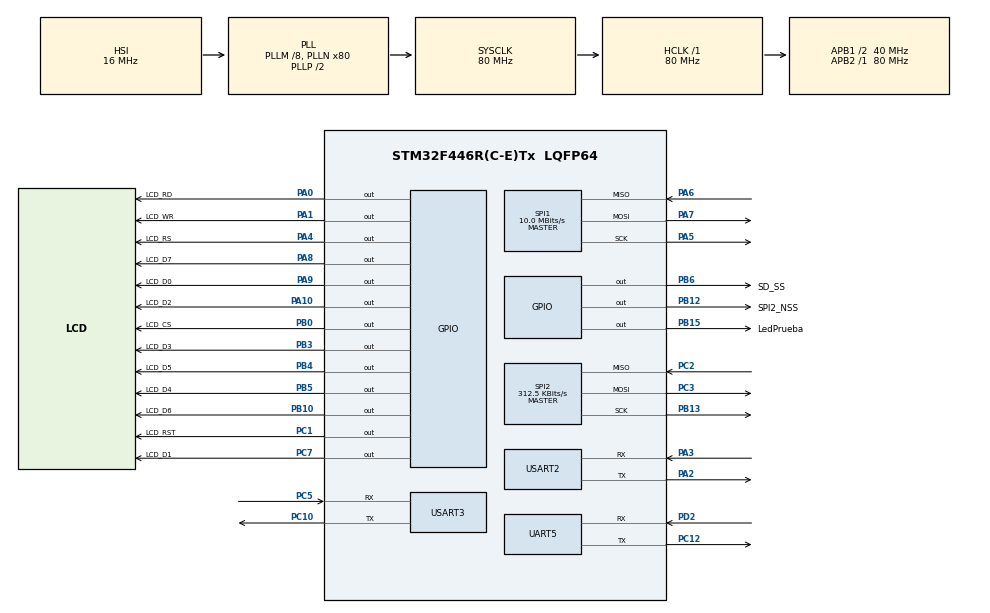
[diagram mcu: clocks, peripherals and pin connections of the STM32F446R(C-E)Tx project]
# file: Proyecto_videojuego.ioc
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FATFS._MAX_SS=4096
FATFS._USE_LFN=1
Mcu.Family=STM32F4
Mcu.Name=STM32F446R(C-E)Tx
Mcu.Package=LQFP64
NVIC.PriorityGroup=NVIC_PRIORITYGROUP_0
NVIC.SPI2_IRQn=true\:0\:0\:false\:false\:true\:true\:true\:true
NVIC.UART5_IRQn=true\:0\:0\:false\:false\:true\:true\:true\:true
NVIC.USART2_IRQn=true\:0\:0\:false\:false\:true\:true\:true\:true
NVIC.USART3_IRQn=true\:0\:0\:false\:false\:true\:true\:true\:true
PA0-WKUP.GPIO_Label=LCD_RD
PA0-WKUP.Signal=GPIO_Output
PA1.GPIO_Label=LCD_WR
PA1.Signal=GPIO_Output
PA10.GPIO_Label=LCD_D2
PA10.Signal=GPIO_Output
PA13.GPIO_Label=TMS
PA13.Mode=Serial_Wire
PA13.Signal=SYS_JTMS-SWDIO
PA14.GPIO_Label=TCK
PA14.Mode=Serial_Wire
PA14.Signal=SYS_JTCK-SWCLK
PA2.Mode=Asynchronous
PA2.Signal=USART2_TX
PA3.Mode=Asynchronous
PA3.Signal=USART2_RX
PA4.GPIO_Label=LCD_RS
PA4.Signal=GPIO_Output
PA5.Mode=Full_Duplex_Master
PA5.Signal=SPI1_SCK
PA6.Mode=Full_Duplex_Master
PA6.Signal=SPI1_MISO
PA7.Mode=Full_Duplex_Master
PA7.Signal=SPI1_MOSI
PA8.GPIO_Label=LCD_D7
PA8.Signal=GPIO_Output
PA9.GPIO_Label=LCD_D0
PA9.Signal=GPIO_Output
PB0.GPIO_Label=LCD_CS
PB0.Signal=GPIO_Output
PB10.GPIO_Label=LCD_D6
PB10.Signal=GPIO_Output
PB12.GPIO_Label=SPI2_NSS
PB12.GPIO_ModeDefaultOutputPP=GPIO_MODE_OUTPUT_PP
PB12.GPIO_PuPd=GPIO_NOPULL
PB12.GPIO_Speed=GPIO_SPEED_FREQ_MEDIUM
PB12.PinState=GPIO_PIN_SET
PB12.Signal=GPIO_Output
PB13.Mode=Full_Duplex_Master
PB13.Signal=SPI2_SCK
PB15.GPIO_Label=LedPrueba
PB15.Signal=GPIO_Output
PB3.GPIO_Label=LCD_D3
PB3.Signal=GPIO_Output
PB4.GPIO_Label=LCD_D5
PB4.Signal=GPIO_Output
PB5.GPIO_Label=LCD_D4
PB5.Signal=GPIO_Output
PB6.GPIO_Label=SD_SS
PB6.GPIO_Speed=GPIO_SPEED_FREQ_MEDIUM
PB6.PinState=GPIO_PIN_SET
PB6.Signal=GPIO_Output
PC1.GPIO_Label=LCD_RST
PC1.Signal=GPIO_Output
PC10.Mode=Asynchronous
PC10.Signal=USART3_TX
PC12.Mode=Asynchronous
PC12.Signal=UART5_TX
PC2.Mode=Full_Duplex_Master
PC2.Signal=SPI2_MISO
PC3.Mode=Full_Duplex_Master
PC3.Signal=SPI2_MOSI
PC5.Mode=Asynchronous
PC5.Signal=USART3_RX
PC7.GPIO_Label=LCD_D1
PC7.Signal=GPIO_Output
PD2.Mode=Asynchronous
PD2.Signal=UART5_RX
PH0-OSC_IN.Mode=HSE-External-Oscillator
PH0-OSC_IN.Signal=RCC_OSC_IN
PH1-OSC_OUT.Mode=HSE-External-Oscillator
PH1-OSC_OUT.Signal=RCC_OSC_OUT
ProjectManager.HeapSize=0x200
ProjectManager.StackSize=0x400
ProjectManager.TargetToolchain=STM32CubeIDE
RCC.48MHZClocksFreq_Value=84000000
RCC.AHBFreq_Value=80000000
RCC.APB1CLKDivider=RCC_HCLK_DIV2
RCC.APB1Freq_Value=40000000
RCC.APB1TimFreq_Value=80000000
RCC.APB2Freq_Value=80000000
RCC.APB2TimFreq_Value=80000000
RCC.CortexFreq_Value=80000000
RCC.FLatency-AdvancedSettings=FLASH_LATENCY_2
RCC.HCLKFreq_Value=80000000
RCC.HSE_VALUE=25000000
RCC.HSI_VALUE=16000000
RCC.PLLM=8
RCC.PLLN=80
RCC.SYSCLKFreq_VALUE=80000000
RCC.SYSCLKSource=RCC_SYSCLKSOURCE_PLLCLK
RCC.USBFreq_Value=80000000
RCC.VCOOutputFreq_Value=160000000
SPI1.BaudRatePrescaler=SPI_BAUDRATEPRESCALER_8
SPI1.CalculateBaudRate=10.0 MBits/s
SPI1.Direction=SPI_DIRECTION_2LINES
SPI1.Mode=SPI_MODE_MASTER
SPI1.VirtualType=VM_MASTER
SPI2.BaudRatePrescaler=SPI_BAUDRATEPRESCALER_128
SPI2.CalculateBaudRate=312.5 KBits/s
SPI2.Direction=SPI_DIRECTION_2LINES
SPI2.Mode=SPI_MODE_MASTER
SPI2.VirtualType=VM_MASTER
UART5.VirtualMode=Asynchronous
USART2.VirtualMode=VM_ASYNC
USART3.VirtualMode=VM_ASYNC
VP_FATFS_VS_Generic.Mode=User_defined
board=NUCLEO-F446RE

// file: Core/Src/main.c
/* USER CODE BEGIN Header */
/**
  ******************************************************************************
  * @file           : main.c
  * @brief          : Main program body
  ******************************************************************************
  * @attention
  *
  * Copyright (c) 2026 STMicroelectronics.
  * All rights reserved.
  *
  * This software is licensed under terms that can be found in the LICENSE file
  * in the root directory of this software component.
  * If no LICENSE file comes with this software, it is provided AS-IS.
  *
  ******************************************************************************
  */
/* USER CODE END Header */
#include "main.h"
#include "fatfs.h"

/* USER CODE BEGIN Includes */
#include "ili9341.h"
#include "Bitmaps.h"
#include "fatfs_sd.h"
#include "stdio.h"
#include <string.h>
/* USER CODE END Includes */

/* USER CODE BEGIN PD */
SPI_HandleTypeDef hspi1;
FATFS fs;
FATFS *pfs;
FIL  fil;
FRESULT fres;
DWORD fre_clust;
uint32_t totalSpace, freeSpace;
char buffer[100];
UINT br;
/* USER CODE END PD */

SPI_HandleTypeDef hspi1;
SPI_HandleTypeDef hspi2;

UART_HandleTypeDef huart5;
UART_HandleTypeDef huart2;
UART_HandleTypeDef huart3;

/* USER CODE BEGIN PV */
//Variables utilizadas para almacernar matrices de imagenes utilizadas
extern uint16_t NAVE1[];
extern uint16_t NAVE2[];
extern uint16_t GUSANO2[];
extern uint16_t BALA[];
extern uint16_t GUSANO16[];
extern uint16_t NAVE16_1[];
extern uint16_t NAVE16_2[];
extern uint16_t GANA1[];
extern uint16_t GANA2[];

char buffer[100];
volatile uint8_t ok2=0;

//VARIBALES PARA JUGADOR 1
uint8_t direccion = 0;   // 1,2,3,4
static char last_direccion = '0';
int dx1 = 0;
int dy1 = 0;
int x = 100;
int y = 100;
uint32_t frame_counter = 0;	// Cuenta los ciclos del while para mover la bala
int bx, by;          // Posición de la bala
int j1_vivo = 1; // 1 = vivo, 0 = muerto
int bala_activa = 0; // 0 = no hay bala, 1 = bala volando
int puntos_j1 = 0;

//VARIABLES PARA JUGADOR 2
uint8_t direccionJ2 = 0;   // 1,2,3,4
static char last_direccion2 = '0';
int dx2 = 0;
int dy2 = 0;
int x2 = 200;
int y2 = 150;
int j2_vivo = 1;
int bx2_b, by2_b;  //variables para control de balas
int bala_activa2 = 0;
uint32_t frame_counter2 = 0;
int puntos_j2 = 0;

volatile uint8_t comando_actual = 0;	//guarda el estado actual de los botones
volatile uint8_t fondonegro = 1;	//bandera para colocar fondo negro
volatile uint8_t comando_actual2 = 0;	//guarda el estado actual de los botones
uint8_t dato_uart;	//Guarda el estado recibido por uart
uint8_t dato_uart2;	//Guarda el estado recibido por uart
uint8_t ok_UART = 0;	//Bandera que indica que hay un dato en el uart
uint8_t controlmenu = 0;	//variables para verficar el estado del menu
uint8_t controlmenuNIVELES = 0;	//variables para verficar el estADO DEL MENU DE NIVELES
int lastmenu = -1;
int lastmenuNIVELES = -1;
uint8_t pantalla_actual;	//indica la pantalla acutal en la s

// Definimos la estructura del segmento
typedef struct {
    int x_g, y_g;    // Posición en pantalla
    int dir_g;     // Dirección horizontal: 1 (derecha), -1 (izquierda)
} Segmento;

//DEFINICIONES Y VARIABLES UTILZADAS PARA LA LOGICA DEL MOVIMIENTO DEL GUSANO
#define LARGO_GUSANO 6  // Número de segmentos iniciales
#define TAM_SEGMENTO 16
Segmento gusano[LARGO_GUSANO]; // El arreglo que contiene a todo el gusano
uint32_t last_move_time = 0;   // Para controlar la velocidad sin usar HAL_Delay
int contador_gusano = 0;
int limite_velocidad = 50000; // Ajusta este valor para cambiar la velocidad global
char msg[20];
int fin_del_juego = 0;
uint8_t miCaracter = 'A'; // O el valor numérico del carácter

#define CS_LOW()  HAL_GPIO_WritePin(GPIOB, GPIO_PIN_12, GPIO_PIN_RESET)
#define CS_HIGH() HAL_GPIO_WritePin(GPIOB, GPIO_PIN_12, GPIO_PIN_SET)
#define BUFFER_PIXELS width
#define MENU    0
#define NIVEL1  1
#define NIVEL2   3
#define JUGADOR1  4
#define JUGADOR2  5
#define NAVE_W 16
#define NAVE_H 16

//VARIABLES PARA LA POSICIÓN DE HONGOS
#define HONGO_W 16
#define HONGO_H 16
#define NUM_HONGOS 10

int hongo_x[10] = {
    5*16, 5*16, 10*16, 15*16, 3*16,
    7*16, 12*16, 18*16, 2*16, 9*16
};

int hongo_y[10] = {
    5*16, 2*16, 4*16, 6*16, 8*16,
    10*16, 12*16, 14*16, 5*16, 9*16
};

/* USER CODE END PV */

void SystemClock_Config(void);
static void MX_GPIO_Init(void);
static void MX_SPI1_Init(void);
static void MX_USART2_UART_Init(void);
static void MX_SPI2_Init(void);
static void MX_UART5_Init(void);
static void MX_USART3_UART_Init(void);
/* USER CODE BEGIN PFP */
void drawImageSD (char *filename, uint16_t x, uint16_t y, uint16_t width, uint16_t height);
void dibujar_hongo(int x, int y);
void dibujar_hongos();
int hay_colision(int x, int y);
int check_collision_ships(int ax, int ay, int bx, int by);
void matar_jugador(int num_jugador);
void manejar_bala(int *bx, int *by, int *bala_activa, uint32_t *frame_counter,
                  int nave_enemiga_x, int nave_enemiga_y, int *puntos);
void actualizar_marcador(int score1, int score2);
void transmit_uart(char *string);
void mount_SD();
void open_ReadFile(char *filename);
//void manejar_input(char comando);
/* USER CODE END PFP */

/* USER CODE BEGIN 0 */

void transmit_uart(char *string) {
	uint8_t len = strlen(string);
	HAL_UART_Transmit(&huart2, (uint8_t*) string, len, 200);
}

void mount_SD(){
	fres = f_mount(&fs, "/", 0);
	if (fres == FR_OK) {
		transmit_uart("Micro SD card is mounted succesfully!\r\n");
	} else if (fres != FR_OK) {
		transmit_uart("Micro SD card's mounted error!\r\n");
	}
}

void open_ReadFile(char *filename) {
	fres = f_open(&fil, filename, FA_READ);
	if (fres == FR_OK) {
		transmit_uart("File opened for reading.\r\n");
	} else if (fres != FR_OK) {
		transmit_uart("File was not opened for reading.\r\n");
	}
}

void close_File(char *filename) {
	fres = f_close(&fil);
	if (fres == FR_OK) {
		transmit_uart("The file is closed.\r\n");
	} else if (fres != FR_OK) {
		transmit_uart("The file was not closed.\r\n");
	}
}

void unmount_SD() {
	f_mount(NULL, "", 1);
	if (fres == FR_OK) {
		transmit_uart("Micro SD card is unmounted!\r\n");
	} else if (fres != FR_OK) {
		transmit_uart("Micro SD card was not unmounted!\r\n");
	}
}

void drawImageSD (char *filename, uint16_t x, uint16_t y, uint16_t width, uint16_t height) {
	uint16_t buffer[width];

	open_ReadFile(filename);

	for (uint16_t fila = 0; fila < height; fila++) {
		f_read(&fil, buffer, width * sizeof(uint16_t), &br);

		LCD_Bitmap(x, y + fila, width, 1, buffer);
	}

	close_File(filename);
}

void dibujar_hongos() {
    for (int i = 0; i < 10; i++) {
        dibujar_hongo(hongo_x[i], hongo_y[i]);
    }
}

void dibujar_hongo(int x, int y) {
	LCD_Bitmap(x, y, 16, 16, hongo);
}

int hay_colision(int x, int y) {
    for (int i = 0; i < NUM_HONGOS; i++) {

        if (x < hongo_x[i] + HONGO_W &&
            x + NAVE_W > hongo_x[i] &&
            y < hongo_y[i] + HONGO_H &&
            y + NAVE_H > hongo_y[i]) {

            return 1; // hay colisión
        }
    }
    return 0; // no hay colisión
}

int check_collision_ships(int ax, int ay, int bx, int by) {
    if (ax < bx + 16 && // 16 es el ancho de la nave
        ax + 16 > bx &&
        ay < by + 16 &&
        ay + 16 > by) {
        return 1;
    }
    return 0;
}

void init_gusano() {
    for (int i = 0; i < LARGO_GUSANO; i++) {

        gusano[i].x_g = (LARGO_GUSANO - i) * TAM_SEGMENTO;
        gusano[i].y_g = 0;
        gusano[i].dir_g = 1; // Todos empiezan moviéndose a la derecha

       //Se muestra en la pantalla
        LCD_Bitmap(gusano[i].x_g, gusano[i].y_g, 32, 32, GUSANO16);
    }
}

void actualizar_gusano() {
    // 1. Guardar posiciones anteriores (para el efecto seguidor)
    int old_x[LARGO_GUSANO];
    int old_y[LARGO_GUSANO];

    for (int i = 0; i < LARGO_GUSANO; i++) {
        old_x[i] = gusano[i].x_g;
        old_y[i] = gusano[i].y_g;
    }

    // 2. Lógica de la cabeza
    int prox_x = gusano[0].x_g + (gusano[0].dir_g * TAM_SEGMENTO);
    int prox_y = gusano[0].y_g;

    // Verificar colisión o bordes laterales
    if (prox_x < 0 || prox_x > (320 - TAM_SEGMENTO) || hay_colision(prox_x, prox_y)) {

        // Verificar si puede bajar sin desbordar la pantalla (240 - 16 = 224)
        if (gusano[0].y_g + TAM_SEGMENTO <= 224) {
            gusano[0].y_g += TAM_SEGMENTO; // Baja una fila
        } else {
            gusano[0].y_g = 0; // Reset al inicio si llega al suelo
        }
        gusano[0].dir_g *= -1; // Cambia de dirección
    } else {
        gusano[0].x_g = prox_x; // Avanza normal
    }

    // 3. Mover el cuerpo
    for (int i = 1; i < LARGO_GUSANO; i++) {
        gusano[i].x_g = old_x[i - 1];
        gusano[i].y_g = old_y[i - 1];
    }

    // 4. Dibujo en la LCD
    for (int i = 0; i < LARGO_GUSANO; i++) {
        // Borrar rastro
        FillRect(old_x[i], old_y[i], TAM_SEGMENTO + 1, TAM_SEGMENTO + 1, 0x0000);
        LCD_Bitmap(gusano[i].x_g, gusano[i].y_g, TAM_SEGMENTO, TAM_SEGMENTO, GUSANO16);
    }
}

void controlar_tiempo_gusano() {
    contador_gusano++;

    if (contador_gusano >= limite_velocidad) {
        // 1. Predecir siguiente posición de la cabeza
        int prox_x = gusano[0].x_g + (gusano[0].dir_g * 16);
        int prox_y = gusano[0].y_g;

        // 2. REVISAR SI EL GUSANO TOCA A LOS JUGADORES (Cualquier segmento)
        for (int i = 0; i < LARGO_GUSANO; i++) {
            if (j1_vivo && check_collision_ships(gusano[i].x_g, gusano[i].y_g, x, y)) {
                matar_jugador(1);
            }
            if (j2_vivo && check_collision_ships(gusano[i].x_g, gusano[i].y_g, x2, y2)) {
                matar_jugador(2);
            }
        }

        // 3. LÓGICA DE MOVIMIENTO Y REBOTE
        // El gusano rebota en bordes y hongos.
        if (prox_x < 0 || prox_x > (320 - 16) || hay_colision(prox_x, prox_y)) {
            // Si choca con borde o hongo: baja y gira
            actualizar_gusano();
            contador_gusano = 0;
        }
        else {
            // Movimiento normal hacia adelante
            actualizar_gusano();
            contador_gusano = 0;
        }

        // 4. REPARACIÓN VISUAL Y CONTROL DE ESTADO
        // Redibujar a los jugadores si siguen vivos
        if (j1_vivo) {
            LCD_Bitmap(x, y, 16, 16, NAVE16_1);
        }

        if (j2_vivo) {
            LCD_Bitmap(x2, y2, 16, 16, NAVE16_2);
        }
    }
}

void matar_jugador(int num_jugador) {
    if (num_jugador == 1) {
        j1_vivo = 0;
        FillRect(x, y, 17, 17, 0x0000); // Borrar la nave

    } else {
        j2_vivo = 0;
        FillRect(x2, y2, 17, 17, 0x0000);
    }
}

void manejar_bala(int *bx, int *by, int *bala_activa, uint32_t *frame_counter,
                  int nave_enemiga_x, int nave_enemiga_y, int *puntos) {

    if (*bala_activa == 0) return;

    if (HAL_GetTick() - *frame_counter > 30) {
        *frame_counter = HAL_GetTick();

        // 1. Borrar posición anterior
        FillRect(*bx, *by, 17, 17, 0x0000);

        // 2. Mover hacia arriba
        *by -= 8;

        // 3. Salió de pantalla
        if (*by < 0) {
            *bala_activa = 0;
            return;
        }

        // 4. Dibujar bala
        LCD_Bitmap(*bx, *by, 16, 16, BALA);

        // 5. Colisión con hongos
        if (hay_colision(*bx, *by)) {
            *bala_activa = 0;
            FillRect(*bx, *by, 17, 17, 0x0000);
            return;
        }

        // 6. Colisión con nave enemiga
        if (check_collision_ships(*bx, *by, nave_enemiga_x, nave_enemiga_y)) {
            *bala_activa = 0;
            FillRect(*bx, *by, 17, 17, 0x0000);
            return;
        }

        // 7. Colisión con gusano -> suma puntos
        for (int i = 0; i < LARGO_GUSANO; i++) {
            if (check_collision_ships(*bx, *by, gusano[i].x_g, gusano[i].y_g)) {
                *bala_activa = 0;
                FillRect(*bx, *by, 17, 17, 0x0000);
                (*puntos)++;   //acumular los puntos
            }
        }
    }
}

void actualizar_marcador(int score1, int score2) {
    char bufferJ1[20]; // Espacio para el texto de J1
    char bufferJ2[20]; // Espacio para el texto de J2

    // Convertimos los enteros a formato de texto "J1: 000"
    sprintf(bufferJ1, "J1:%d", score1);
    sprintf(bufferJ2, "J2:%d", score2);

    LCD_Print(bufferJ1, 240, 5, 1, 0xFFFF, 0x0000);
    LCD_Print(bufferJ2, 240, 20, 1, 0xFFFF, 0x0000);
}
/* USER CODE END 0 */

int main(void)
{

  /* MCU Configuration--------------------------------------------------------*/

  /* Reset of all peripherals, Initializes the Flash interface and the Systick. */
  HAL_Init();

  /* Configure the system clock */
  SystemClock_Config();

  /* Initialize all configured peripherals */
  MX_GPIO_Init();
  MX_SPI1_Init();
  MX_FATFS_Init();
  MX_USART2_UART_Init();
  MX_SPI2_Init();
  MX_UART5_Init();
  MX_USART3_UART_Init();
  /* USER CODE BEGIN 2 */
  LCD_Init();
  //LCD_Clear(0xE941);
  mount_SD();
  //Dubujar la primer imagen desde la SD
  drawImageSD("fondomenu.bin.bin", 0, 0, 320, 240);

  unmount_SD();

  HAL_UART_Receive_IT(&huart3, (uint8_t*)buffer, 1);
  HAL_UART_Receive_IT(&huart5, (uint8_t*)buffer, 1);

  //Implemetación de la SD
  /*************************INICIO EJEMPLO SD ***************/
  /*Waiting for the Micro SD module to initialize*/
  HAL_Delay(500);
  //Montamos el sistema de archivos
  /*fres= f_mount(&fs, "/", 0);
  if (fres == FR_OK){
	  transmit_uart("Micro SD card is mountes successfully!\r\n");
  } else if (fres != FR_OK){
	  transmit_uart("Micro SD card's mount error!\r\n");
  }

 //Abrimos el archivo en modo escritura y lectura, y append
  fres = f_open(&fil, "fondo_inicio.txt", FA_OPEN_APPEND | FA_WRITE | FA_READ);
  if (fres == FR_OK){
	  transmit_uart("File opened dor reading.\r\n");
  } else if (fres != FR_OK){
	  transmit_uart ("File was not opened for reading.! \r\n");
  }
  //Escribir en el archivo abierto
  for(uint8_t i=0; i<1; i++){
	  f_puts("",&fil);
  }

 //Cerramos el archivo
  fres = f_close(&fil);
  if(fres == FR_OK){
	  transmit_uart("The file is closed. \r\n");
  } else if (fres != FR_OK){
	  transmit_uart("The file was not closed. \r\n");
  }

  //Abrimos el modo lectura
  fres = f_open(&fil, "prueba_gusano.txt", FA_READ);
  if (fres == FR_OK){
	  transmit_uart("File opened for reading. \r\n");
  } else if (fres != FR_OK){
	  transmit_uart("File was not opened for reading. \r\n");
  }
  //Leemos el archivo
  while(f_gets(buffer, sizeof(buffer), &fil)){
	  char mRd[100];
	  sprintf(mRd, "%s", buffer);
	  transmit_uart(mRd);
  }
  //Cerramos el archivo
  fres = f_close(&fil);
  if (fres == FR_OK){
	  transmit_uart("The file is closed \r\n");
  } else if (fres != FR_OK){
	  transmit_uart("The file was not closed. \r\n");
  }
  //Desmontamos el sistema de archivos
  f_mount(NULL, "", 1);
  if (fres == FR_OK){
	  transmit_uart("The Miro SD card is unmounted! \r\n");
  } else if (fres != FR_OK){
	  transmit_uart("The Miro SD card was not unmounted!  \r\n");
  }*/
  /*************************FIN DE EJEMPLO DE LA SD ***************/
  /* USER CODE END 2 */

  /* Infinite loop */
  /* USER CODE BEGIN WHILE */
  while (1)
  {

	  //Verificar si los jugadores siguen con vida
	  if (!j1_vivo && !j2_vivo && !fin_del_juego) {
	      fin_del_juego = 1;
	      HAL_UART_Transmit(&huart5, (uint8_t *)"B", 1, 10);

	      // Comparar puntajes
	      if (puntos_j1 > puntos_j2) {
	          // Aquí llamamos a la lógica para el Jugador 1
	          LCD_Clear(0x0000);
	         LCD_Bitmap(100, 85, 120, 70, GANA1);
	         sprintf(msg, "P1: %2d", puntos_j1);
	         LCD_Print(msg, 175, 141, 1, 0xFFFF, 0x0000);
	         sprintf(msg, "P2: %2d", puntos_j2);
	         LCD_Print(msg, 175, 160, 1, 0xFFFF, 0x0000);

	          /*
	          // 3. Mostrar puntajes finales
	          char texto_puntos[20];
	          sprintf(texto_puntos, "J1 Gana: %d", puntos_j1);
	          LCD_Print(texto_puntos, 100, 170, 2, 0xFFFF, 0x0000); */
	      }  else if (puntos_j2 > puntos_j1) {
	          // Aquí llamamos a la lógica para el Jugador 1
	          LCD_Clear(0x0000);
	          LCD_Bitmap(100, 85, 120, 70, GANA1);
	          sprintf(msg, "P2: %2d", puntos_j2);
	          LCD_Print(msg, 175, 141, 1, 0xFFFF, 0x0000);
	          sprintf(msg, "P1: %2d", puntos_j1);
	          LCD_Print(msg, 175, 160, 1, 0xFFFF, 0x0000);

	  }
	      else if (puntos_j2 == puntos_j1) {
	    	  LCD_Clear(0x0000);
	    	  LCD_Bitmap(100, 85, 120, 70, GANA1);
	    	  sprintf(msg, "P2: %2d", puntos_j2);
			  LCD_Print(msg, 175, 141, 1, 0xFFFF, 0x0000);
			  sprintf(msg, "P1: %2d", puntos_j1);
			  LCD_Print(msg, 175, 160, 1, 0xFFFF, 0x0000);

	      }

	  }
	  if (comando_actual2 == 'P')
			pantalla_actual = MENU;

	  // Bala jugador 1 (enemigo es jugador 2: x2, y2)
	  manejar_bala(&bx, &by, &bala_activa, &frame_counter, x2, y2, &puntos_j1);

	  // Bala jugador 2 (enemigo es jugador 1: x, y)
	  manejar_bala(&bx2_b, &by2_b, &bala_activa2, &frame_counter2, x, y, &puntos_j2);

	      // =====================
	      // 1. INPUT (UART)
	      // =====================
		  //CONTROL 1

		  if (ok2 == 1){

			  // 1. Bajar la bandera inmediatamente
			 ok2 = 0;
			 // Movimiento o selección
			  if (pantalla_actual == MENU){

				  if (comando_actual2 == 'D'){
					  HAL_UART_Transmit(&huart5, (uint8_t *)"C", 1, 10);
					  controlmenu++;
				  }
				  else if (comando_actual2 == 'U'){
					  HAL_UART_Transmit(&huart5, (uint8_t *)"C", 1, 10);
					  controlmenu--;
				  }
				  else if (comando_actual2 == 'S'){
					  if (controlmenu == 1)
						  pantalla_actual = NIVEL1;

					  else if (controlmenu == 2)
						  pantalla_actual = NIVEL2;

				  }

			  }
			  else if (pantalla_actual == NIVEL1){
				  fondonegro=0;

				  if (comando_actual2 == 'U'){
					  HAL_UART_Transmit(&huart5, (uint8_t *)"C", 1, 10);
					  controlmenuNIVELES++;}

				  else if (comando_actual2 == 'D'){
					  HAL_UART_Transmit(&huart5, (uint8_t *)"C", 1, 10);
					  controlmenuNIVELES--;}

				  else if (comando_actual2 == 'S'){
					  if (controlmenuNIVELES == 1)
						  pantalla_actual = JUGADOR1;

					  else if (controlmenuNIVELES == 2){
						  pantalla_actual = JUGADOR2;
						  fondonegro=0;}

				  }

			  else if (comando_actual2 == 'P'){
				  pantalla_actual = MENU;
			  }
			  }

			  else if (pantalla_actual == 	NIVEL2){
			  }

			  else if (pantalla_actual == JUGADOR2){
				      direccion = dato_uart2;
				      if (comando_actual2 == 'U' && bala_activa == 0) {
				          bala_activa = 1;
				          bx = x+8;
				          by = y ;	//Sale desde el borde superior de la nave
				          //sprintf(msg, "P1:%.d", puntos_j1);
				          //LCD_Print(msg, 10, 10, 1, 0xFFFF, 0x0000);
				          HAL_UART_Transmit(&huart5, (uint8_t *)"A", 1, 10);
				          frame_counter = HAL_GetTick();
				      }

			  }

			}

		  //CONTROL 2
	      if (ok_UART == 1){
	          ok_UART = 0;
	          if (pantalla_actual == JUGADOR2){
	        	  direccionJ2 = dato_uart;   // 1,2,3,4

	        	  if (comando_actual == 'U' && bala_activa2 == 0) {
					  bala_activa2 = 1;
					  bx2_b = x2+8;
					  by2_b = y2 ;	//Sale desde el borde superior de la nave
					  //sprintf(msg, "P2:%.d", puntos_j2);
					  //LCD_Print(msg, 10, 25, 1, 0xFFFF, 0x0000);
					  HAL_UART_Transmit(&huart5, (uint8_t *)"A", 1, 10);
					  frame_counter2 = HAL_GetTick();
				  }
	          }

	      }

	      // =====================
	      // 2. LÓGICA
	      // =====================

	      if (pantalla_actual == MENU){

	          // control circular
	          if (controlmenu < 1) controlmenu = 2;
	          if (controlmenu > 2) controlmenu = 1;

	      }

	      else if (pantalla_actual == NIVEL2){

		  }

	      else if (pantalla_actual == NIVEL1){

	    	  // control circular
			  if (controlmenuNIVELES < 1) controlmenuNIVELES = 2;
			  if (controlmenuNIVELES > 2) controlmenuNIVELES = 1;

	      }

	      else if (pantalla_actual == JUGADOR2){

		  }

	      // =====================
	      // 3. RENDER
	      // =====================

	      if (pantalla_actual == MENU){

	    	  //  Solo redibujar si cambia
			  if (controlmenu != lastmenu){

				  switch (controlmenu){

				  case 1:
					  LCD_Print("NIVEL 1", 100, 50, 2, 0x0000, 0xFB53);
					  LCD_Print("NIVEL 2", 100, 100, 2, 0x0000, 0xFFFF);
					  break;

				  case 2:
					  LCD_Print("NIVEL 1", 100, 50, 2, 0x0000, 0xFFFF);
					  LCD_Print("NIVEL 2", 100, 100, 2, 0x0000,  0xFB53);
					  break;

				  }
				  lastmenu = controlmenu;
			  }
	      }

	      else if (pantalla_actual == NIVEL2){

	    	  LCD_Clear(0xE941);   // 👈 aquí va todo tu juego
	      }

	      else if (pantalla_actual == NIVEL1){

	    	  //  Solo redibujar si cambia
			  if (controlmenuNIVELES != lastmenuNIVELES){
				  LCD_Clear(0xBD57);

				  switch (controlmenuNIVELES){

				  case 1:
					  LCD_Print("1 JUGADOR", 90, 50, 2, 0x0000, 0xFB53);
					  LCD_Print("2 JUGADORES", 90, 100, 2, 0x0000, 0xFFFF);
					  break;

				  case 2:
					  LCD_Print("1 JUGADOR", 90, 50, 2, 0x0000, 0xFFFF);
					  LCD_Print("2 JUGADORES", 90, 100, 2, 0x0000, 0xFB53);
					  break;
				  }
				  lastmenuNIVELES = controlmenuNIVELES;
		  }}

	      else if (pantalla_actual == JUGADOR2){

	    	  if(fondonegro==0){
	    		  LCD_Clear(0x0000);
	    		  init_gusano();
	    		  dibujar_hongos();
	    		  fondonegro=1;
	    	 }

	    	  //LOGICA PARA JUGADOR 1
	    	  if (direccion == '0')
				  last_direccion = '0';

	    	  if (direccionJ2 == '0')
				  last_direccion2 = '0';
	    	  if (j1_vivo) {

			  // 1. guardar posición anterior
	    	  if (direccion != '0' && direccion != last_direccion) {

				  int x_old = x;
				  int y_old = y;

				  switch(direccion){
					  case '1': dx1 = -1; dy1 = 0; break;
					  case '2': dx1 = 1;  dy1 = 0; break;
					  case '3': dx1 = 0;  dy1 = -1; break;
					  case '4': dx1 = 0;  dy1 = 1; break;
					  default: dx1 = 0; dy1 = 0; break;
				  }

				  // 3. mover (puedes usar grid o no)
				  int delta_x = dx1 * 16;
				  int delta_y = dy1 * 16;

				  // Validar Eje X
				  if (!hay_colision(x + delta_x, y) && !check_collision_ships(x + delta_x, y, x2, y2)) {
				      x += delta_x;
				  } else if (hay_colision(x + delta_x, y)) {
					  if (puntos_j1 > 0)
						  puntos_j1 -= 1; // Restamos la cantidad que desees
					  HAL_UART_Transmit(&huart5, (uint8_t *)"D", 1, 10);
					  //sprintf(msg, "P1:%2d", puntos_j1);
					  //LCD_Print(msg, 10, 10, 1, 0xFFFF, 0x0000);

				  }

				  // Validar Eje Y
				  if (!hay_colision(x, y + delta_y) && !check_collision_ships(x, y + delta_y, x2, y2)) {
				      y += delta_y;
				  } else if (hay_colision(x, y + delta_y)) {
					  if (puntos_j1 > 0)
						  puntos_j1 -= 1;
					  HAL_UART_Transmit(&huart5, (uint8_t *)"D", 1, 10);
					  //sprintf(msg, "P1:%.d", puntos_j1);
					  //LCD_Print(msg, 10, 10, 1, 0xFFFF, 0x0000);

				  }

				  // 4. límites (IMPORTANTE ajustar a 16)
				  if (x < 0) x = 0;
				  if (x > 320 - 16) x = 320 - 16; //se regresa la el límite menos el tamaño de sprite

				  if (y < 0) y = 0;
				  if (y > 240 - 16) y = 240 - 16;

				  // 5. borrar anterior
				  FillRect(x_old, y_old, 17, 17, 0x0000); //borrar el rastro de la nave dibujando el rectangulo 	del tañano de sprite en la dirección anterior

				  // 6. dibujar nueva
				  LCD_Bitmap(x, y, 16, 16, NAVE16_1); //dibujar el sprite con el movimiento actualizado

				  last_direccion = direccion;
				  }
	    	  }

	    	  //LOGICA JUGADOR 2
	    	  if (j2_vivo) {

	    	  // 1. guardar posición anterior
			  if (direccionJ2 != '0' && direccionJ2 != last_direccion2) {
				  int x_old2 = x2;
				  int y_old2 = y2;

				  // 2. joystick
				  switch(direccionJ2){
					  case '1': dx2 = -1; dy2 = 0; break;
					  case '2': dx2 = 1;  dy2 = 0; break;
					  case '3': dx2 = 0;  dy2 = -1; break;
					  case '4': dx2 = 0;  dy2 = 1; break;
					  default: dx2 = 0; dy2 = 0; break;
				  }

				  int delta_x2 = dx2 * 16;
				  int delta_y2 = dy2 * 16;
				  // Validar Eje X
				  if (!hay_colision(x2 + delta_x2, y2) && !check_collision_ships(x2 + delta_x2, y2, x, y)) {
				      x2 += delta_x2;
				  } else if (hay_colision(x2 + delta_x2, y2)) {
					  if (puntos_j2>0)
						  puntos_j2 -= 1;
					  HAL_UART_Transmit(&huart5, (uint8_t *)"D", 1, 10);
				      //sprintf(msg, "P2:%.d", puntos_j2);
				      //LCD_Print(msg, 10, 25, 1, 0xFFFF, 0x0000);

				  }

				  // Validar Eje Y
				  if (!hay_colision(x2, y2 + delta_y2) && !check_collision_ships(x2, y2 + delta_y2, x, y)) {
				      y2 += delta_y2;
				  } else if (hay_colision(x2, y2 + delta_y2)) {
					  if (puntos_j2>0)
						  puntos_j2 -= 1;
					  HAL_UART_Transmit(&huart5, (uint8_t *)"D", 1, 10);
				     // sprintf(msg, "P2:%.d", puntos_j2);
				     // LCD_Print(msg, 10, 25, 1, 0xFFFF, 0x0000);

				  }

				  // 4. límites (IMPORTANTE ajustar a 16)
				  if (x2 < 0) x2 = 0;
				  if (x2 > 320 - 16) x2 = 320 - 16; //se regresa la el límite menos el tamaño de sprite

				  if (y2 < 0) y2 = 0;
				  if (y2 > 240 - 16) y2 = 240 - 16;

				  // 5. borrar anterior
				  FillRect(x_old2, y_old2, 17, 17,  0x0000); //borrar el rastro de la nave dibujando el rectangulo 	del tañano de sprite en la dirección anterior

				  // 6. dibujar nueva
				  LCD_Bitmap(x2, y2, 16, 16, NAVE16_2); //dibujar el sprite con el movimiento actualizado
				  //LCD_Bitmap(x2, y2, 32, 32, NAVE2); //dibujar el sprite con el movimiento actualizado
				  last_direccion2 = direccionJ2;
				  }

	    	  }
	    	  if(fin_del_juego==0)
	    	  controlar_tiempo_gusano();
	      	  }

	  }

    /* USER CODE END WHILE */

  }

void SystemClock_Config(void)
{
  RCC_OscInitTypeDef RCC_OscInitStruct = {0};
  RCC_ClkInitTypeDef RCC_ClkInitStruct = {0};

  /** Configure the main internal regulator output voltage
  */
  __HAL_RCC_PWR_CLK_ENABLE();
  __HAL_PWR_VOLTAGESCALING_CONFIG(PWR_REGULATOR_VOLTAGE_SCALE3);

  /** Initializes the RCC Oscillators according to the specified parameters
  * in the RCC_OscInitTypeDef structure.
  */
  RCC_OscInitStruct.OscillatorType = RCC_OSCILLATORTYPE_HSI;
  RCC_OscInitStruct.HSIState = RCC_HSI_ON;
  RCC_OscInitStruct.HSICalibrationValue = RCC_HSICALIBRATION_DEFAULT;
  RCC_OscInitStruct.PLL.PLLState = RCC_PLL_ON;
  RCC_OscInitStruct.PLL.PLLSource = RCC_PLLSOURCE_HSI;
  RCC_OscInitStruct.PLL.PLLM = 8;
  RCC_OscInitStruct.PLL.PLLN = 80;
  RCC_OscInitStruct.PLL.PLLP = RCC_PLLP_DIV2;
  RCC_OscInitStruct.PLL.PLLQ = 2;
  RCC_OscInitStruct.PLL.PLLR = 2;
  if (HAL_RCC_OscConfig(&RCC_OscInitStruct) != HAL_OK)
  {
    Error_Handler();
  }

  /** Initializes the CPU, AHB and APB buses clocks
  */
  RCC_ClkInitStruct.ClockType = RCC_CLOCKTYPE_HCLK|RCC_CLOCKTYPE_SYSCLK
                              |RCC_CLOCKTYPE_PCLK1|RCC_CLOCKTYPE_PCLK2;
  RCC_ClkInitStruct.SYSCLKSource = RCC_SYSCLKSOURCE_PLLCLK;
  RCC_ClkInitStruct.AHBCLKDivider = RCC_SYSCLK_DIV1;
  RCC_ClkInitStruct.APB1CLKDivider = RCC_HCLK_DIV2;
  RCC_ClkInitStruct.APB2CLKDivider = RCC_HCLK_DIV1;

  if (HAL_RCC_ClockConfig(&RCC_ClkInitStruct, FLASH_LATENCY_2) != HAL_OK)
  {
    Error_Handler();
  }
}

static void MX_SPI1_Init(void)
{

  /* SPI1 parameter configuration*/
  hspi1.Instance = SPI1;
  hspi1.Init.Mode = SPI_MODE_MASTER;
  hspi1.Init.Direction = SPI_DIRECTION_2LINES;
  hspi1.Init.DataSize = SPI_DATASIZE_8BIT;
  hspi1.Init.CLKPolarity = SPI_POLARITY_LOW;
  hspi1.Init.CLKPhase = SPI_PHASE_1EDGE;
  hspi1.Init.NSS = SPI_NSS_SOFT;
  hspi1.Init.BaudRatePrescaler = SPI_BAUDRATEPRESCALER_8;
  hspi1.Init.FirstBit = SPI_FIRSTBIT_MSB;
  hspi1.Init.TIMode = SPI_TIMODE_DISABLE;
  hspi1.Init.CRCCalculation = SPI_CRCCALCULATION_DISABLE;
  hspi1.Init.CRCPolynomial = 10;
  if (HAL_SPI_Init(&hspi1) != HAL_OK)
  {
    Error_Handler();
  }

}

static void MX_SPI2_Init(void)
{

  /* SPI2 parameter configuration*/
  hspi2.Instance = SPI2;
  hspi2.Init.Mode = SPI_MODE_MASTER;
  hspi2.Init.Direction = SPI_DIRECTION_2LINES;
  hspi2.Init.DataSize = SPI_DATASIZE_8BIT;
  hspi2.Init.CLKPolarity = SPI_POLARITY_LOW;
  hspi2.Init.CLKPhase = SPI_PHASE_1EDGE;
  hspi2.Init.NSS = SPI_NSS_SOFT;
  hspi2.Init.BaudRatePrescaler = SPI_BAUDRATEPRESCALER_128;
  hspi2.Init.FirstBit = SPI_FIRSTBIT_MSB;
  hspi2.Init.TIMode = SPI_TIMODE_DISABLE;
  hspi2.Init.CRCCalculation = SPI_CRCCALCULATION_DISABLE;
  hspi2.Init.CRCPolynomial = 10;
  if (HAL_SPI_Init(&hspi2) != HAL_OK)
  {
    Error_Handler();
  }

}

static void MX_UART5_Init(void)
{

  huart5.Instance = UART5;
  huart5.Init.BaudRate = 115200;
  huart5.Init.WordLength = UART_WORDLENGTH_8B;
  huart5.Init.StopBits = UART_STOPBITS_1;
  huart5.Init.Parity = UART_PARITY_NONE;
  huart5.Init.Mode = UART_MODE_TX_RX;
  huart5.Init.HwFlowCtl = UART_HWCONTROL_NONE;
  huart5.Init.OverSampling = UART_OVERSAMPLING_16;
  if (HAL_UART_Init(&huart5) != HAL_OK)
  {
    Error_Handler();
  }

}

static void MX_USART2_UART_Init(void)
{

  huart2.Instance = USART2;
  huart2.Init.BaudRate = 115200;
  huart2.Init.WordLength = UART_WORDLENGTH_8B;
  huart2.Init.StopBits = UART_STOPBITS_1;
  huart2.Init.Parity = UART_PARITY_NONE;
  huart2.Init.Mode = UART_MODE_TX_RX;
  huart2.Init.HwFlowCtl = UART_HWCONTROL_NONE;
  huart2.Init.OverSampling = UART_OVERSAMPLING_16;
  if (HAL_UART_Init(&huart2) != HAL_OK)
  {
    Error_Handler();
  }

}

static void MX_USART3_UART_Init(void)
{

  huart3.Instance = USART3;
  huart3.Init.BaudRate = 115200;
  huart3.Init.WordLength = UART_WORDLENGTH_8B;
  huart3.Init.StopBits = UART_STOPBITS_1;
  huart3.Init.Parity = UART_PARITY_NONE;
  huart3.Init.Mode = UART_MODE_TX_RX;
  huart3.Init.HwFlowCtl = UART_HWCONTROL_NONE;
  huart3.Init.OverSampling = UART_OVERSAMPLING_16;
  if (HAL_UART_Init(&huart3) != HAL_OK)
  {
    Error_Handler();
  }

}

static void MX_GPIO_Init(void)
{
  GPIO_InitTypeDef GPIO_InitStruct = {0};

  /* GPIO Ports Clock Enable */
  __HAL_RCC_GPIOH_CLK_ENABLE();
  __HAL_RCC_GPIOC_CLK_ENABLE();
  __HAL_RCC_GPIOA_CLK_ENABLE();
  __HAL_RCC_GPIOB_CLK_ENABLE();
  __HAL_RCC_GPIOD_CLK_ENABLE();

  /*Configure GPIO pin Output Level */
  HAL_GPIO_WritePin(GPIOC, LCD_RST_Pin|LCD_D1_Pin, GPIO_PIN_RESET);

  /*Configure GPIO pin Output Level */
  HAL_GPIO_WritePin(GPIOA, LCD_RD_Pin|LCD_WR_Pin|LCD_RS_Pin|LCD_D7_Pin
                          |LCD_D0_Pin|LCD_D2_Pin, GPIO_PIN_RESET);

  /*Configure GPIO pin Output Level */
  HAL_GPIO_WritePin(GPIOB, LCD_CS_Pin|LCD_D6_Pin|LedPrueba_Pin|LCD_D3_Pin
                          |LCD_D5_Pin|LCD_D4_Pin, GPIO_PIN_RESET);

  /*Configure GPIO pin Output Level */
  HAL_GPIO_WritePin(GPIOB, SPI2_NSS_Pin|SD_SS_Pin, GPIO_PIN_SET);

  /*Configure GPIO pins : LCD_RST_Pin LCD_D1_Pin */
  GPIO_InitStruct.Pin = LCD_RST_Pin|LCD_D1_Pin;
  GPIO_InitStruct.Mode = GPIO_MODE_OUTPUT_PP;
  GPIO_InitStruct.Pull = GPIO_NOPULL;
  GPIO_InitStruct.Speed = GPIO_SPEED_FREQ_LOW;
  HAL_GPIO_Init(GPIOC, &GPIO_InitStruct);

  /*Configure GPIO pins : LCD_RD_Pin LCD_WR_Pin LCD_RS_Pin LCD_D7_Pin
                           LCD_D0_Pin LCD_D2_Pin */
  GPIO_InitStruct.Pin = LCD_RD_Pin|LCD_WR_Pin|LCD_RS_Pin|LCD_D7_Pin
                          |LCD_D0_Pin|LCD_D2_Pin;
  GPIO_InitStruct.Mode = GPIO_MODE_OUTPUT_PP;
  GPIO_InitStruct.Pull = GPIO_NOPULL;
  GPIO_InitStruct.Speed = GPIO_SPEED_FREQ_LOW;
  HAL_GPIO_Init(GPIOA, &GPIO_InitStruct);

  /*Configure GPIO pins : LCD_CS_Pin LCD_D6_Pin LedPrueba_Pin LCD_D3_Pin
                           LCD_D5_Pin LCD_D4_Pin */
  GPIO_InitStruct.Pin = LCD_CS_Pin|LCD_D6_Pin|LedPrueba_Pin|LCD_D3_Pin
                          |LCD_D5_Pin|LCD_D4_Pin;
  GPIO_InitStruct.Mode = GPIO_MODE_OUTPUT_PP;
  GPIO_InitStruct.Pull = GPIO_NOPULL;
  GPIO_InitStruct.Speed = GPIO_SPEED_FREQ_LOW;
  HAL_GPIO_Init(GPIOB, &GPIO_InitStruct);

  /*Configure GPIO pins : SPI2_NSS_Pin SD_SS_Pin */
  GPIO_InitStruct.Pin = SPI2_NSS_Pin|SD_SS_Pin;
  GPIO_InitStruct.Mode = GPIO_MODE_OUTPUT_PP;
  GPIO_InitStruct.Pull = GPIO_NOPULL;
  GPIO_InitStruct.Speed = GPIO_SPEED_FREQ_MEDIUM;
  HAL_GPIO_Init(GPIOB, &GPIO_InitStruct);

}

/* USER CODE BEGIN 4 */
void HAL_UART_RxCpltCallback(UART_HandleTypeDef *huart){
    if(huart->Instance == USART3){

    	ok_UART=1;
    	comando_actual = dato_uart;
		// Volver a activar la recepción para la próxima letra
		// Guardar directamente en &dato_uart
		HAL_UART_Receive_IT(&huart3, &dato_uart, 1);}

    else if(huart->Instance == UART5){
		ok2=1;
		comando_actual2 = dato_uart2;

		// Volver a activar la recepción para la próxima letra
		// Guardar directamente en &dato_uart
		HAL_UART_Receive_IT(&huart5, &dato_uart2, 1);}

}

/* USER CODE END 4 */

void Error_Handler(void)
{
  __disable_irq();
  while (1)
  {
  }
}
